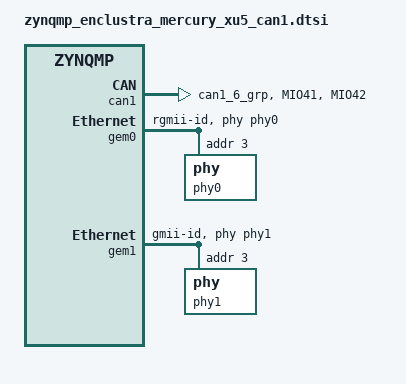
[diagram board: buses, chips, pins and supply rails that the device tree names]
// SPDX-License-Identifier: GPL-2.0+
/*
 * dts file for Xilinx ZynqMP mercury_xu5 with used CAN1
 *
 * (C) Copyright 2015 - 2021
 *
 * Sean Dalton <sean.dalton@smartmechatronics.de>
 */

/*Untested*/
#include "zynqmp.dtsi"
#include "zynqmp-clk-ccf.dtsi"
#include <dt-bindings/input/input.h>
#include <dt-bindings/gpio/gpio.h>
#include <dt-bindings/pinctrl/pinctrl-zynqmp.h>
#include <dt-bindings/phy/phy.h>


/ {
	aliases {
		ethernet0 = &gem0;
		ethernet1 = &gem1;
		i2c0 = &i2c0;
		serial0 = &uart0;
		spi0 = &qspi;
                can1 = &can1;
	};
};

&can1 {
	status = "okay";
	pinctrl-names = "default";
	pinctrl-0 = <&pinctrl_can1_default>;
};

&pinctrl0 {
	status = "okay";
  
	pinctrl_can1_default: can1-default {
		mux {
			function = "can1";
			groups = "can1_6_grp";
		};

		conf {
			groups = "can1_6_grp";
			slew-rate = <SLEW_RATE_SLOW>;
			power-source = <IO_STANDARD_LVCMOS18>;
		};

		conf-rx {
			pins = "MIO41";
			bias-high-impedance;
		};

		conf-tx {
			pins = "MIO42";
			bias-disable;
		};
	}; 
};
  
&gem0 {
	status = "okay";
	/delete-property/ local-mac-address;
	phy-mode = "rgmii-id";
	phy-handle = <&phy0>;
	phy0: phy@3 {
		reg = <3>;

		txc-skew-ps = <1800>;
		txen-skew-ps = <420>;

		txd0-skew-ps = <420>;
		txd1-skew-ps = <420>;
		txd2-skew-ps = <420>;
		txd3-skew-ps = <420>;

		rxc-skew-ps = <900>;
		rxdv-skew-ps = <420>;

		rxd0-skew-ps = <420>;
		rxd1-skew-ps = <420>;
		rxd2-skew-ps = <420>;
		rxd3-skew-ps = <420>;		
	};
};

&gem1 {
	status = "okay";
	/delete-property/ local-mac-address;
	phy-mode = "gmii-id";
	phy-handle = <&phy1>;
    	phy1: phy@3 {
		reg = <3>;

		txc-skew-ps = <900>;
		txen-skew-ps = <420>;

		txd0-skew-ps = <420>;
		txd1-skew-ps = <420>;
		txd2-skew-ps = <420>;
		txd3-skew-ps = <420>;

		rxc-skew-ps = <1680>;
		rxdv-skew-ps = <420>;

		rxd0-skew-ps = <420>;
		rxd1-skew-ps = <420>;
		rxd2-skew-ps = <420>;
		rxd3-skew-ps = <420>;		
	};
};
